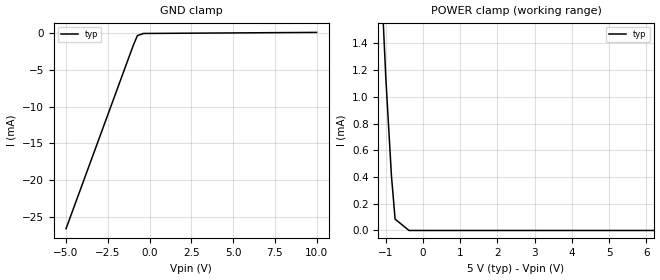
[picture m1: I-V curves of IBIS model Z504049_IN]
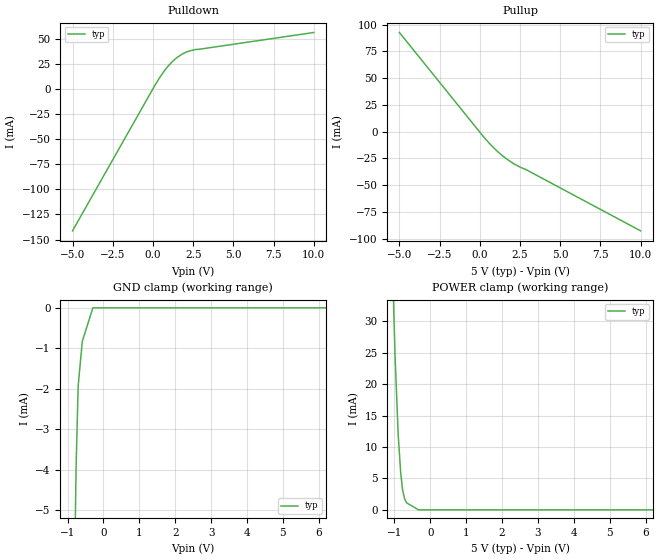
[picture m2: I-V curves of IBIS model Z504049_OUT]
| YOU ARE ONLY AUTHORIZED TO USE THIS SOFTWARE
| ACCORDING TO LICENSOR'S LICENSE RESTRICTIONS.
[IBIS Ver] 3.1
[File Name] mc54hc00aj.ibs
[File Rev] 2.0
[Source] Measured and created by ICX Technology
[Date] Friday 7/14/00 9:08:05 AM
[Copyright]
| (C) COPYRIGHT 1993-2000
| MENTOR GRAPHICS CORPORATION
| ICX STANDARD LIBRARY, ICX PROJECT MODELING,
| ICX CUSTOM MODELING, ICX VENDOR MODEL
| ALL RIGHTS RESERVED.
| THE FOLLOWING ARE TRADEMARKS OR SERVICE MARKS OF
| MENTOR GRAPHICS CORPORATION:ICX (R), ICX STANDARD
| LIBRARY(R), ICX PROJECT MODELING(R), ICX CUSTOM
| MODELING(R), qualityIBIS(TM), MODELVIEWER(TM),
| AND MODELEDITOR(TM)
| ALL COPIES OF SOFTWARE, INCLUDING BUT NOT LIMITED TO
| ANY MODIFICATIONS, ENHANCEMENTS OR DERIVATIVE WORKS,
| MUST CONTAIN ALL MENTOR GRAPHICS CORPORATION'S
| NOTICES AND LEGENDS, INCLUDING THOSE EMBEDDED IN
| SOFTWARE AND THOSE AFFIXED TO SOFTWARE MEDIUM
| AND CONTAINER, AS RECEIVED FROM MENTOR GRAPHICS
| CORPORATION.
|  ZAP Model Builder 2.7
[Component] MC54HC00AJ
[Manufacturer] OnSemiconductor
[Package]
| variable   typ   min   max
R_pkg  .21ohms NA NA
L_pkg  4.543nH NA NA
C_pkg  1.8pF NA NA
[Pin] signal_name  model_name  R_pin  L_pin C_pin
1 1A Z504049_IN .22 6.757n 2.434p
2 1B Z504049_IN .212 4.757n 1.941p
3 1Y Z504049_OUT .204 3.257n 1.448p
4 2A Z504049_IN .196 2.257n .955p
5 2B Z504049_IN .204 3.257n 1.448p
6 2Y Z504049_OUT .212 4.757n 1.941p
7 GND GND .22 6.757n 2.434p
8 3Y Z504049_OUT .22 6.757n 2.434p
9 3A Z504049_IN .212 4.757n 1.941p
10 3B Z504049_IN .204 3.257n 1.448p
11 4Y Z504049_OUT .196 2.257n .955p
12 4A Z504049_IN .204 3.257n 1.448p
13 4B Z504049_IN .212 4.757n 1.941p
14 VCC POWER .22 6.757n 2.434p
| Models and submodels in the file (2): Z504049_IN (Input), Z504049_OUT (Output)
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| (C) COPYRIGHT 1993-2000
| MENTOR GRAPHICS CORPORATION
| ICX STANDARD LIBRARY, ICX PROJECT MODELING,
| ICX CUSTOM MODELING, ICX VENDOR MODEL
| ALL RIGHTS RESERVED.
| THE FOLLOWING ARE TRADEMARKS OR SERVICE MARKS OF
| MENTOR GRAPHICS CORPORATION:ICX (R), ICX STANDARD
| LIBRARY(R), ICX PROJECT MODELING(R), ICX CUSTOM
| MODELING(R), qualityIBIS(TM), MODELVIEWER(TM),
| AND MODELEDITOR(TM)
| ALL COPIES OF SOFTWARE, INCLUDING BUT NOT LIMITED TO
| ANY MODIFICATIONS, ENHANCEMENTS OR DERIVATIVE WORKS,
| MUST CONTAIN ALL MENTOR GRAPHICS CORPORATION'S
| NOTICES AND LEGENDS, INCLUDING THOSE EMBEDDED IN
| SOFTWARE AND THOSE AFFIXED TO SOFTWARE MEDIUM
| AND CONTAINER, AS RECEIVED FROM MENTOR GRAPHICS
| CORPORATION.
| Model Application Version 1.89 2/18/99.
[Model] Z504049_IN
Model_type Input
Vinl = 1.000V
Vinh = 3.500V
C_comp 4.000pF NA NA
| variable typ   min   max
[Voltage Range] 5.000V NA NA
[GND Clamp Reference] 0.000V NA NA
[POWER Clamp Reference] 5.000V NA NA
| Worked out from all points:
|   GND clamp passes 1 mA (typ) near -0.85 V on its own axis
|   POWER clamp passes 1 mA (typ) near -0.97 V on its own axis
[GND Clamp]
-5V       -26.63mA   NA         NA
-971.6mV  -1.649mA   NA         NA
-726.7mV  -333.8uA   NA         NA
-363.4mV  -44.23uA   NA         NA
10V       102.6uA    NA         NA
[POWER Clamp]
-5V       26.99mA    NA         NA
-1.392V   3.524mA    NA         NA
-998mV    1.15mA     NA         NA
-845mV    407uA      NA         NA
-747mV    84.93uA    NA         NA
-373.5mV  0A         NA         NA
10V       0A         NA         NA
| (C) COPYRIGHT 1993-2000
| MENTOR GRAPHICS CORPORATION
| ICX STANDARD LIBRARY, ICX PROJECT MODELING,
| ICX CUSTOM MODELING, ICX VENDOR MODEL
| ALL RIGHTS RESERVED.
| THE FOLLOWING ARE TRADEMARKS OR SERVICE MARKS OF
| MENTOR GRAPHICS CORPORATION:ICX (R), ICX STANDARD
| LIBRARY(R), ICX PROJECT MODELING(R), ICX CUSTOM
| MODELING(R), qualityIBIS(TM), MODELVIEWER(TM),
| AND MODELEDITOR(TM)
| ALL COPIES OF SOFTWARE, INCLUDING BUT NOT LIMITED TO
| ANY MODIFICATIONS, ENHANCEMENTS OR DERIVATIVE WORKS,
| MUST CONTAIN ALL MENTOR GRAPHICS CORPORATION'S
| NOTICES AND LEGENDS, INCLUDING THOSE EMBEDDED IN
| SOFTWARE AND THOSE AFFIXED TO SOFTWARE MEDIUM
| AND CONTAINER, AS RECEIVED FROM MENTOR GRAPHICS
| CORPORATION.
| Model Application Version 1.89 2/18/99.
[Model] Z504049_OUT
Model_type Output
Vref=0.000V
Rref=500.0Mohms
Cref=50.00pF
Vmeas=2.500V
C_comp 8.000pF NA NA
| variable typ   min   max
[Voltage Range] 5.000V NA NA
[POWER Clamp Reference] 5.000V NA NA
[Pullup Reference] 5.000V NA NA
[Pulldown Reference] 0.000V NA NA
[GND Clamp Reference] 0.000V NA NA
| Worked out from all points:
|   slope of the pulldown table from 0 to 0.75 V, typ, clamps not added: 40.2 ohm
|   slope of the pullup table from 0 to 0.75 V, typ, clamps not added: 58.1 ohm
|   GND clamp passes 1 mA (typ) near -0.61 V on its own axis
[GND Clamp]
-5V       -255mA     NA         NA
-761.6mV  -3.844mA   NA         NA
-705.6mV  -1.927mA   NA         NA
-590.3mV  -827.2uA   NA         NA
-295.2mV  0A         NA         NA
10V       0A         NA         NA
[Pulldown]
-5V       -141.3mA   NA         NA
84.19mV   2.437mA    NA         NA
707mV     17.85mA    NA         NA
1.333V    29mA       NA         NA
1.943V    35.63mA    NA         NA
2.66V     39.19mA    NA         NA
10V       56.09mA    NA         NA
[Pullup]
-5V       92.61mA    NA         NA
181mV     -3.926mA   NA         NA
865mV     -15.23mA   NA         NA
1.397V    -22.47mA   NA         NA
2.085V    -29.85mA   NA         NA
10V       -92.84mA   NA         NA
[POWER Clamp]
-5V       848.9mA    NA         NA
-986mV    24.72mA    NA         NA
-898mV    12.07mA    NA         NA
-828mV    5.945mA    NA         NA
-773mV    3.13mA     NA         NA
-713mV    1.658mA    NA         NA
-657mV    1.091mA    NA         NA
-328.5mV  0A         NA         NA
10V       0A         NA         NA
[Ramp]
| variable typ min max
dV/dt_r 2.712/748.0p NA NA
dV/dt_f 2.712/665.2p NA NA
R_load = 500.0Ohms
